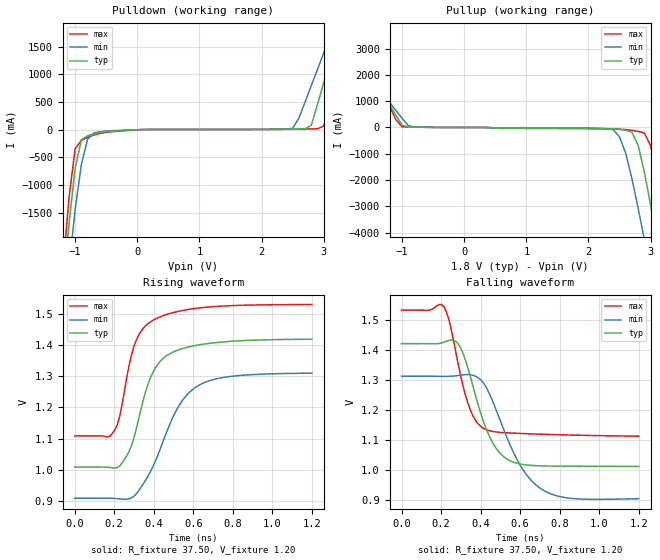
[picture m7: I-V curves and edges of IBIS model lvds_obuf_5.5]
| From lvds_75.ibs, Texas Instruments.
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|   Model lvds_obuf_5.5
[Model]   lvds_obuf_5.5
Model_type   Output
Polarity   Non-Inverting
Vmeas =   1.2000V
C_comp   4.00pF   4.00pF   4.00pF
[Temperature Range]   25.00   0.12k   -40.00
[Voltage Range]   1.80V   1.65V   1.95V
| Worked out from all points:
|   slope of the pulldown table from 0 to 0.27 V, typ, clamps not added: 54.1 ohm
|   slope of the pullup table from 0 to 0.27 V, typ, clamps not added: 20 kohm
|   rising waveform, R_fixture 37.50, V_fixture 1.20: 20-80 % time 125ps typ, 175ps min, 103ps max; typ from 1.01 V to 1.42 V
|   falling waveform, R_fixture 37.50, V_fixture 1.20: 20-80 % time 123ps typ, 170ps min, 92.7ps max; typ from 1.42 V to 1.01 V
[Pulldown]
| voltage   I(typ)   I(min)   I(max)
-1.8V     -11.22A    -11.51A    -11.58A
-1.2V     -2.94A     -3.66A     -2.55A
-1.1V     -1.7A      -2.49A     -1.23A
-1V       -690mA     -1.43A     -340mA
-900mV    -180mA     -620mA     -190mA
-700mV    -74.6mA    -58.32mA   -95.73mA
2.5V      11.98mA    27.86mA    9.46mA
2.8V      79.75mA    800mA      15.29mA
3V        850mA      1.39A      66.39mA
3.2V      1.64A      2A         1.04A
3.4V      2.44A      2.87A      2.05A
3.6V      3.26A      7.07A      3.07A
[Pullup]
| voltage   I(typ)   I(min)   I(max)
-1.8V     3.24A      3.32A      3.83A
-1.6V     2.43A      2.15A      2.81A
-1V       81.88mA    350mA      27.61mA
2.4V      -56.1mA    -88.9mA    -57.51mA
2.5V      -76.31mA   -360mA     -64.62mA
2.7V      -180mA     -1.96A     -110mA
2.9V      -1.71A     -4.28A     -210mA
3V        -2.95A     -5.52A     -700mA
3.1V      -4.28A     -6.78A     -1.87A
3.2V      -5.65A     -8.05A     -3.27A
3.3V      -7.03A     -9.35A     -4.75A
3.6V      -11.28A    -15.13A    -9.32A
[Ramp]
| variable   typ   min   max
dV/dt_r   0.56/0.15n   0.38/0.20n   0.70/0.11n
dV/dt_f   0.15/95.94p   0.14/0.14n   0.17/75.86p
R_load = 37.50
[Rising Waveform]
R_fixture = 37.50
V_fixture = 1.20
V_fixture_min = 1.10
V_fixture_max = 1.30
| time   V(typ)   V(min)   V(max)
0s        1.009V     908.8mV    1.108V
180ps     1.007V     908.9mV    1.108V
228ps     1.012V     906.6mV    1.171V
300ps     1.103V     915.3mV    1.395V
360ps     1.252V     967.7mV    1.462V
396ps     1.312V     1.01V      1.479V
516ps     1.382V     1.192V     1.506V
624ps     1.4V       1.269V     1.518V
804ps     1.412V     1.3V       1.526V
1.2ns     1.418V     1.31V      1.53V
[Falling Waveform]
R_fixture = 37.50
V_fixture = 1.20
V_fixture_min = 1.10
V_fixture_max = 1.30
| time   V(typ)   V(min)   V(max)
0s        1.42V      1.312V     1.532V
216ps     1.425V     1.311V     1.541V
300ps     1.405V     1.315V     1.311V
360ps     1.282V     1.315V     1.182V
420ps     1.151V     1.284V     1.137V
528ps     1.039V     1.116V     1.124V
612ps     1.018V     1.003V     1.121V
696ps     1.014V     941.6mV    1.119V
852ps     1.012V     905.9mV    1.116V
1.2ns     1.011V     904.3mV    1.112V
